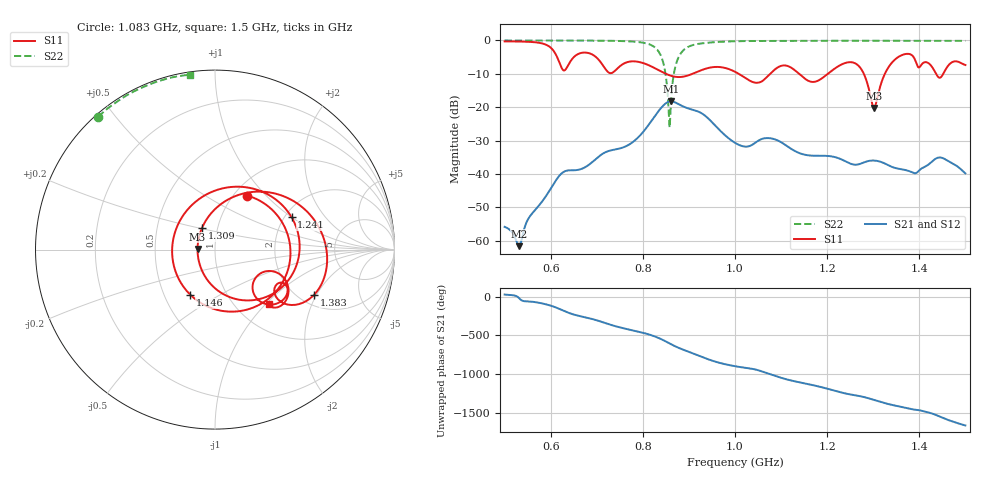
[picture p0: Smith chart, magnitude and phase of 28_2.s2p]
! TOUCHSTONE file generated by CST MICROWAVE STUDIO
! Date and time: Mon Nov 30 09:10:16 2020
! Project name: Scenario_1_Planar_Body_Tissue_Out_of_Line_v2.cst
! Parameters = {dy1=121.1; L_HA=400; Ltissue=700; MT=2.54; Rad_Dielectric=30; Rad_Lower=7.3; Rad_Upper=30; Wtissue=700; a_HA=580; a_WG=246; b_HA=500; b_WG=121; c_HA=0; c_WG=187; d_feed=85; dx1=346; h_feed=15; h_lower=18; h_upper=40; hfat=3; hgap=25; hmuscle=50; hskin=1.5}
! Header version: 2018
! Port assignment regex: !\s*Touchstone port\s*([0-9]+)\s*=\s*(CST MWS port|CST DS port)\s*([0-9]+|Zmin|Zmax)\s*\(\"(.*)\"\)(\s*mode\s*([0-9]+))?.*
! Touchstone port assignment:
! Touchstone port 1 = CST MWS port 1 ("")
! Touchstone port 2 = CST MWS port 2 ("")
# GHz S DB R 50
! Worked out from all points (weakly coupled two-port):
!   1003 points, 500 MHz to 1.5 GHz, reference 50 ohm
!   highest |S21| = -18.27 dB at 861 MHz (marker M1); lowest = -61.7 dB at 531 MHz (marker M2)
!   lowest |S11| = -20.2 dB at 1.302 GHz (marker M3), VSWR 1.22, Z = 41.1 + j0.351 ohm
!   |S11| at or under -10 dB: 850 MHz to 907.9 MHz (57.87 MHz wide, 6.58 % of centre); 1.008 GHz to 1.076 GHz (68.3 MHz wide, 6.55 % of centre); 1.139 GHz to 1.202 GHz (62.55 MHz wide, 5.35 % of centre) (the widest 3 of 5)
!   |S22| runs from -26.1 to 0.0 dB; largest |S21 - S12| = 2.5e-05
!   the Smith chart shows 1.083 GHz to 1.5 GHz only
!   S11 on the Smith chart (normalised r, x): 1.083 GHz: 1.15, +0.79; 1.146 GHz: 0.68, -0.37; 1.241 GHz: 2.17, +1.00; 1.309 GHz: 0.84, +0.20; 1.383 GHz: 2.40, -1.91; 1.5 GHz: 1.41, -1.05
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0.5  -0.28 -121.8  -55.87 28.8  -55.87 28.8  -0.01 151.2
0.531  -0.32 -135.1  -61.66 -15.2  -61.71 -13.8  -0.01 149.1
0.667  -3.72 158.1  -38.50 104.4  -38.50 104.4  -0.04 138.4
0.695  -4.62 102.9  -35.90 64.0  -35.90 64.0  -0.06 135.4
0.717  -8.21 27.8  -33.63 22.8  -33.63 22.8  -0.09 132.7
0.741  -8.90 -94.9  -32.66 -22.0  -32.66 -22.0  -0.14 129.1
0.77  -6.38 175.8  -31.22 -64.0  -31.22 -64.0  -0.27 123.1
0.834  -8.89 36.8  -21.19 -173.3  -21.19 -173.2  -3.28 83.9
0.861  -10.59 -34.1  -18.27 106.2  -18.27 106.2  -18.52 -119.8
0.882  -10.96 -97.1  -19.42 47.8  -19.42 47.8  -3.95 -174.6
0.942  -8.26 82.2  -23.40 -89.9  -23.40 -89.9  -0.67 151.0
1  -9.39 -58.2  -30.68 -179.1  -30.68 -179.1  -0.25 140.4
1.045  -12.68 -178.1  -30.57 137.2  -30.57 137.2  -0.17 134.9
1.083  -9.11 59.3  -29.50 64.1  -29.50 64.1  -0.14 131.3
1.146  -10.85 -118.6  -34.07 -35.1  -34.07 -35.1  -0.11 125.8
1.167  -12.43 -178.2  -34.53 -61.3  -34.53 -61.3  -0.10 124.2
1.241  -6.69 23.0  -36.32 -173.7  -36.32 -173.7  -0.08 118.6
1.302  -20.24 177.5  -36.00 103.7  -36.00 103.7  -0.09 114.0
1.309  -17.10 121.5  -36.12 90.9  -36.12 90.9  -0.09 113.5
1.334  -7.85 52.9  -37.48 49.0  -37.48 49.0  -0.08 111.6
1.383  -4.33 -24.4  -39.44 -15.8  -39.44 -15.8  -0.09 107.7
1.5  -7.36 -45.3  -39.85 133.8  -39.85 133.8  -0.13 98.0
